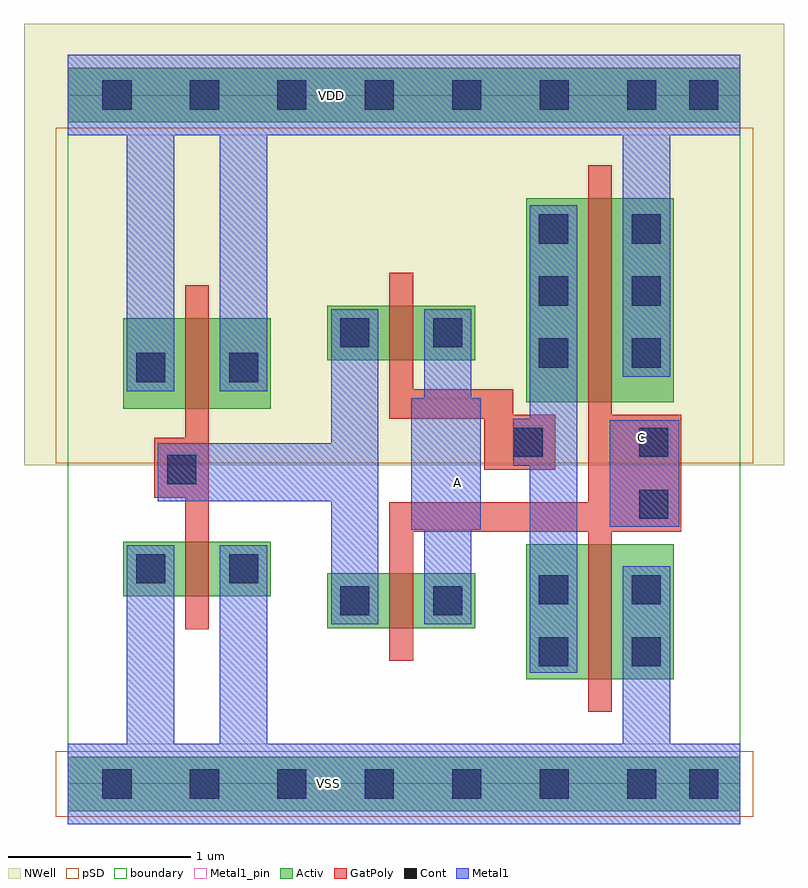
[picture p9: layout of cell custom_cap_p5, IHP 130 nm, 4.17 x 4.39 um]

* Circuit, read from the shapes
.subckt custom_cap_p5 A C VDD VSS
XM1 VSS n1 VSS VSS sg13_lv_nmos w=0.3u l=0.13u
XM2 A C n1 VSS sg13_lv_nmos w=0.3u l=0.13u
XM3 VSS C n2 VSS sg13_lv_nmos w=0.74u l=0.13u
XM4 VDD n1 VDD VDD sg13_lv_pmos w=0.495u l=0.13u
XM5 A n2 n1 VDD sg13_lv_pmos w=0.3u l=0.13u
XM6 VDD C n2 VDD sg13_lv_pmos w=1.12u l=0.13u
.ends

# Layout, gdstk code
import gdstk
lib = gdstk.Library(unit=1e-6, precision=1e-09)
def R(c, l, rs):  # rectangles x0, y0, x1, y1
    for r in rs: c.add(gdstk.rectangle(r[:2], r[2:], *l))
def A(c, l, x, y, w, h, nx, ny, dx, dy):  # array of equal rectangles
    R(c, l, [(x+i*dx, y+j*dy, x+i*dx+w, y+j*dy+h) for i in range(nx) for j in range(ny)])
def P(c, l, *ps):  # polygons
    for p in ps: c.add(gdstk.Polygon(p, *l))
Activ = (1, 0)
GatPoly = (5, 0)
Cont = (6, 0)
Metal1 = (8, 0)
Metal1_pin = (8, 2)
pSD = (14, 0)
NWell = (31, 0)
boundary = (189, 4)

custom_cap_p5 = lib.new_cell('custom_cap_p5')
R(custom_cap_p5, Activ, [(0,-0.15,3.69,0.15), (2.515,0.575,3.325,1.315), (1.425,0.855,2.235,1.155), (0.305,1.03,1.115,1.33), (0.305,2.06,1.115,2.555), (2.515,2.095,3.325,3.215), (1.425,2.325,2.235,2.625), (0,3.63,3.69,3.93)])
P(custom_cap_p5, GatPoly, [(0.645,0.85),(0.645,1.57),(0.475,1.57),(0.475,1.9),(0.645,1.9),(0.645,2.735),(0.775,2.735),(0.775,0.85)],
  [(2.855,0.395),(2.855,1.385),(1.895,1.385),(1.895,0.675),(1.765,0.675),(1.765,1.545),(2.855,1.545),(2.855,3.395),(2.985,3.395),(2.985,2.025),(3.365,2.025),(3.365,1.385),(2.985,1.385),(2.985,0.395)],
  [(2.285,1.725),(2.285,2.005),(1.765,2.005),(1.765,2.805),(1.895,2.805),(1.895,2.165),(2.445,2.165),(2.445,2.025),(2.675,2.025),(2.675,1.725)])
A(custom_cap_p5, Cont, 2.585, 2.285, 0.16, 0.16, 1, 3, 0, 0.34)
A(custom_cap_p5, Cont, 3.095, 2.285, 0.16, 0.16, 1, 3, 0, 0.34)
R(custom_cap_p5, Cont, [(0.19,-0.08,0.35,0.08), (0.19,-0.08,0.35,0.08), (0.67,-0.08,0.83,0.08), (0.67,-0.08,0.83,0.08), (1.15,-0.08,1.31,0.08), (1.15,-0.08,1.31,0.08), (1.63,-0.08,1.79,0.08), (1.63,-0.08,1.79,0.08), (2.11,-0.08,2.27,0.08), (2.11,-0.08,2.27,0.08), (2.59,-0.08,2.75,0.08), (2.59,-0.08,2.75,0.08), (3.07,-0.08,3.23,0.08), (3.07,-0.08,3.23,0.08), (3.41,-0.08,3.57,0.08), (3.41,-0.08,3.57,0.08), (2.585,0.645,2.745,0.805), (3.095,0.645,3.255,0.805), (1.495,0.925,1.655,1.085), (2.005,0.925,2.165,1.085), (2.585,0.985,2.745,1.145), (3.095,0.985,3.255,1.145), (0.375,1.1,0.535,1.26), (0.885,1.1,1.045,1.26), (3.135,1.455,3.295,1.615), (0.545,1.645,0.705,1.805), (2.445,1.795,2.605,1.955), (3.135,1.795,3.295,1.955), (0.375,2.205,0.535,2.365), (0.885,2.205,1.045,2.365), (1.495,2.395,1.655,2.555), (2.005,2.395,2.165,2.555), (0.19,3.7,0.35,3.86), (0.19,3.7,0.35,3.86), (0.67,3.7,0.83,3.86), (0.67,3.7,0.83,3.86), (1.15,3.7,1.31,3.86), (1.15,3.7,1.31,3.86), (1.63,3.7,1.79,3.86), (1.63,3.7,1.79,3.86), (2.11,3.7,2.27,3.86), (2.11,3.7,2.27,3.86), (2.59,3.7,2.75,3.86), (2.59,3.7,2.75,3.86), (3.07,3.7,3.23,3.86), (3.07,3.7,3.23,3.86), (3.41,3.7,3.57,3.86), (3.41,3.7,3.57,3.86)])
R(custom_cap_p5, Metal1, [(2.975,1.41,3.355,1.995)])
P(custom_cap_p5, Metal1, [(0,-0.22),(0,0.22),(0.325,0.22),(0.325,1.31),(0.585,1.31),(0.585,0.22),(0.835,0.22),(0.835,1.31),(1.095,1.31),(1.095,0.22),(3.045,0.22),(3.045,1.195),(3.305,1.195),(3.305,0.22),(3.69,0.22),(3.69,-0.22)],
  [(0.325,2.155),(0.325,3.56),(0,3.56),(0,4),(3.69,4),(3.69,3.56),(3.305,3.56),(3.305,2.235),(3.045,2.235),(3.045,3.56),(1.095,3.56),(1.095,2.155),(0.835,2.155),(0.835,3.56),(0.585,3.56),(0.585,2.155)],
  [(1.445,0.875),(1.445,1.55),(0.495,1.55),(0.495,1.87),(1.445,1.87),(1.445,2.605),(1.705,2.605),(1.705,0.875)],
  [(1.955,0.875),(1.955,1.395),(1.885,1.395),(1.885,2.115),(1.955,2.115),(1.955,2.605),(2.215,2.605),(2.215,2.115),(2.265,2.115),(2.265,1.395),(2.215,1.395),(2.215,0.875)],
  [(2.535,0.61),(2.535,1.745),(2.445,1.745),(2.445,2.005),(2.535,2.005),(2.535,3.175),(2.795,3.175),(2.795,0.61)])
R(custom_cap_p5, Metal1_pin, [(0,-0.22,3.69,0.22), (1.885,1.395,2.265,2.115), (2.975,1.41,3.355,1.995), (0,3.56,3.69,4)])
R(custom_cap_p5, pSD, [(-0.065,-0.18,3.76,0.18), (-0.065,1.76,3.76,3.6)])
R(custom_cap_p5, NWell, [(-0.24,1.75,3.93,4.17)])
R(custom_cap_p5, boundary, [(0,0,3.69,3.78)])
custom_cap_p5.add(gdstk.Label('C', (3.15,1.9), layer=8, texttype=25))
custom_cap_p5.add(gdstk.Label('A', (2.14,1.655), layer=8, texttype=25))
custom_cap_p5.add(gdstk.Label('VSS', (1.43,0.005), layer=8, texttype=25))
custom_cap_p5.add(gdstk.Label('VDD', (1.445,3.775), layer=8, texttype=25))

lib.write_gds('custom_cap_p5.gds')
